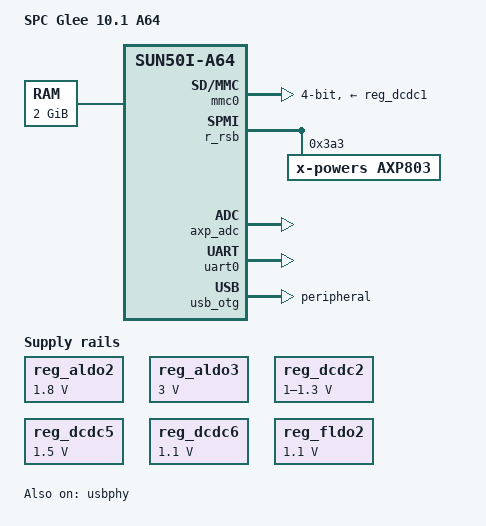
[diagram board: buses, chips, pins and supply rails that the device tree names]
// SPDX-License-Identifier: (GPL-2.0+ OR MIT)
/*
 * Copyright (C) 2026 SPC Glee A64 Linux contributors
 */

/dts-v1/;

#include "sun50i-a64.dtsi"
#include "sun50i-a64-cpu-opp.dtsi"

/ {
	model = "SPC Glee 10.1 A64";
	compatible = "onspc,glee-10-1-a64", "allwinner,sun50i-a64";
	chassis-type = "tablet";

	aliases {
		serial0 = &uart0;
	};

	chosen {
		stdout-path = "serial0:115200n8";
	};

	memory@40000000 {
		device_type = "memory";
		reg = <0x40000000 0x80000000>;
	};
};

&cpu0 {
	cpu-supply = <&reg_dcdc2>;
};

&cpu1 {
	cpu-supply = <&reg_dcdc2>;
};

&cpu2 {
	cpu-supply = <&reg_dcdc2>;
};

&cpu3 {
	cpu-supply = <&reg_dcdc2>;
};

&mmc0 {
	pinctrl-names = "default";
	pinctrl-0 = <&mmc0_pins>;
	vmmc-supply = <&reg_dcdc1>;
	vqmmc-supply = <&reg_dcdc1>;
	broken-cd;
	bus-width = <4>;
	max-frequency = <25000000>;
	status = "okay";
};

&r_rsb {
	status = "okay";

	axp803: pmic@3a3 {
		compatible = "x-powers,axp803";
		reg = <0x3a3>;
		interrupt-parent = <&r_intc>;
		interrupts = <GIC_SPI 32 IRQ_TYPE_LEVEL_LOW>;
	};
};

#include "axp803.dtsi"

&axp_adc {
	status = "okay";
};

&battery_power_supply {
	status = "okay";
};

&reg_aldo2 {
	regulator-always-on;
	regulator-min-microvolt = <1800000>;
	regulator-max-microvolt = <1800000>;
	regulator-name = "vcc-pl";
};

&reg_aldo3 {
	regulator-always-on;
	regulator-min-microvolt = <3000000>;
	regulator-max-microvolt = <3000000>;
	regulator-name = "vcc-pll-avcc";
};

&reg_dcdc1 {
	regulator-always-on;
	regulator-name = "vcc-3v3";
};

&reg_dcdc2 {
	regulator-always-on;
	regulator-min-microvolt = <1000000>;
	regulator-max-microvolt = <1300000>;
	regulator-name = "vdd-cpux";
};

&reg_dcdc5 {
	regulator-always-on;
	regulator-min-microvolt = <1500000>;
	regulator-max-microvolt = <1500000>;
	regulator-name = "vcc-dram";
};

&reg_dcdc6 {
	regulator-always-on;
	regulator-min-microvolt = <1100000>;
	regulator-max-microvolt = <1100000>;
	regulator-name = "vdd-sys";
};

&reg_fldo2 {
	regulator-always-on;
	regulator-min-microvolt = <1100000>;
	regulator-max-microvolt = <1100000>;
	regulator-name = "vdd-cpus";
};

&uart0 {
	pinctrl-names = "default";
	pinctrl-0 = <&uart0_pb_pins>;
	status = "okay";
};

&usb_otg {
	dr_mode = "peripheral";
	status = "okay";
};

&usb_power_supply {
	status = "okay";
};

&usbphy {
	usb0_vbus_power-supply = <&usb_power_supply>;
	status = "okay";
};
